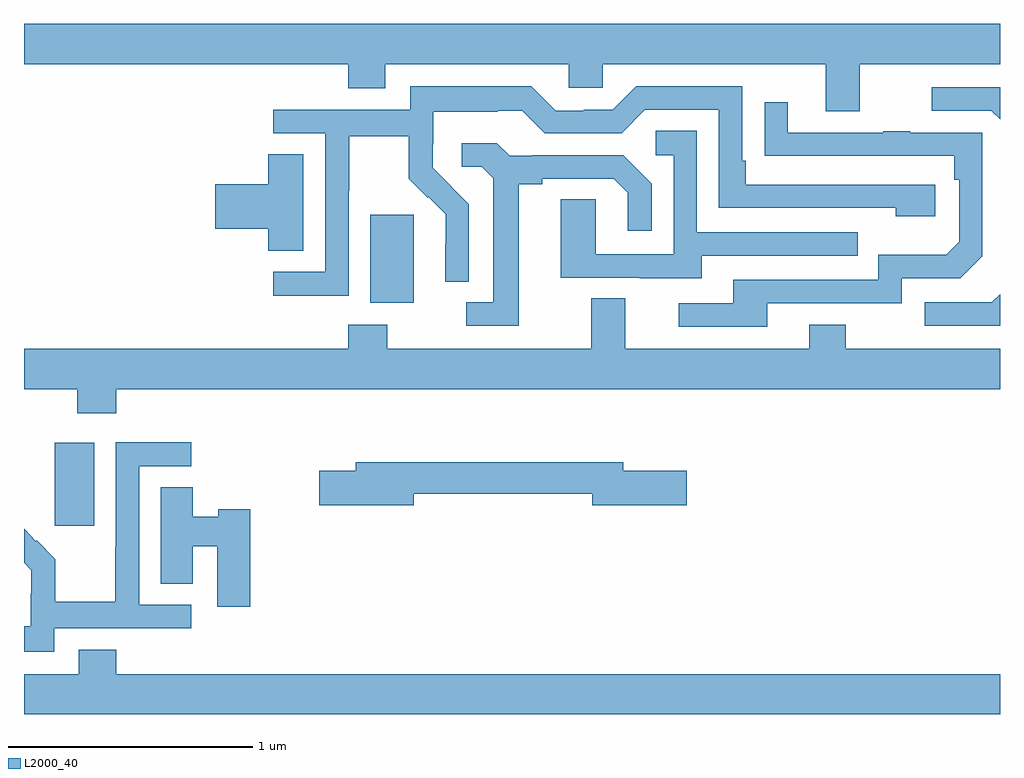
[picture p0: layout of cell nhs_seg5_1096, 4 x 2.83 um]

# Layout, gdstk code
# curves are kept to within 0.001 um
import gdstk
lib = gdstk.Library(unit=1e-6, precision=1e-09)
def R(c, l, rs):  # rectangles x0, y0, x1, y1
    for r in rs: c.add(gdstk.rectangle(r[:2], r[2:], *l))
def P(c, l, *ps):  # polygons
    for p in ps: c.add(gdstk.Polygon(p, *l))
L2000_40 = (2000, 40)

nhs_seg5_1096 = lib.new_cell('nhs_seg5_1096')
R(nhs_seg5_1096, L2000_40, [(179.126,848.208,179.287,848.548), (180.419,849.122,180.598,849.483)])
P(nhs_seg5_1096, L2000_40, [(182.425,850.1),(183,850.1),(183,850.264),(179,850.264),(179,850.1),(180.329,850.1),(180.329,850.001),(180.481,850.001),(180.481,850.1),(181.233,850.1),(181.233,850.002),(181.371,850.002),(181.371,850.1),(182.285,850.1),(182.285,849.906),(182.425,849.906)],
  [(180.33,849.58),(180.333,849.58),(180.333,849.804),(180.577,849.804),(180.577,849.629),(180.654,849.552),(180.657,849.555),(180.728,849.485),(180.728,849.362),(180.726,849.362),(180.726,849.208),(180.822,849.208),(180.822,849.526),(180.676,849.674),(180.676,849.771),(180.678,849.771),(180.678,849.905),(180.941,849.905),(180.941,849.909),(181.041,849.909),(181.134,849.816),(181.449,849.816),(181.545,849.912),(181.848,849.912),(181.848,849.51),(182.573,849.51),(182.573,849.476),(182.734,849.476),(182.734,849.606),(181.957,849.606),(181.957,849.703),(181.944,849.703),(181.944,850.008),(181.509,850.008),(181.413,849.912),(181.295,849.912),(181.295,849.909),(181.179,849.909),(181.079,850.009),(180.582,850.009),(180.582,849.912),(180.021,849.912),(180.021,849.816),(180.234,849.816),(180.234,849.249),(180.021,849.249),(180.021,849.151),(180.33,849.151)],
  [(183,850.005),(182.721,850.005),(182.721,849.909),(182.964,849.909),(183,849.873)],
  [(182.047,849.12),(182.598,849.12),(182.598,849.222),(182.838,849.222),(182.928,849.312),(182.928,849.819),(182.633,849.819),(182.633,849.824),(182.521,849.824),(182.521,849.819),(182.131,849.819),(182.131,849.943),(182.035,849.943),(182.035,849.724),(182.812,849.723),(182.812,849.626),(182.832,849.626),(182.832,849.372),(182.779,849.319),(182.502,849.319),(182.502,849.216),(181.907,849.216),(181.907,849.12),(181.683,849.12),(181.683,849.024),(182.047,849.024)],
  [(181.777,849.315),(182.417,849.315),(182.417,849.411),(181.758,849.411),(181.758,849.827),(181.59,849.827),(181.59,849.726),(181.662,849.726),(181.662,849.321),(181.344,849.321),(181.344,849.545),(181.199,849.545),(181.199,849.225),(181.523,849.225),(181.523,849.221),(181.777,849.221)],
  [(181.027,849.608),(181.123,849.608),(181.123,849.63),(181.418,849.63),(181.475,849.573),(181.475,849.417),(181.572,849.417),(181.572,849.61),(181.456,849.726),(181.084,849.726),(181.084,849.723),(180.99,849.723),(180.938,849.775),(180.795,849.775),(180.795,849.678),(180.876,849.678),(180.923,849.631),(180.923,849.123),(180.813,849.123),(180.813,849.027),(181.027,849.027)],
  [(180.145,849.731),(180.002,849.731),(180.002,849.608),(179.784,849.608),(179.784,849.425),(180.002,849.425),(180.002,849.334),(180.145,849.334)],
  [(183,849.156),(182.967,849.123),(182.691,849.123),(182.691,849.027),(183,849.027)],
  [(179.378,848.768),(183,848.768),(183,848.932),(182.367,848.932),(182.367,849.031),(182.219,849.031),(182.219,848.932),(181.465,848.932),(181.465,849.14),(181.325,849.14),(181.325,848.932),(180.489,848.932),(180.489,849.031),(180.329,849.031),(180.329,848.932),(179,848.932),(179,848.768),(179.218,848.768),(179.218,848.669),(179.378,848.669)],
  [(179.124,847.788),(179.686,847.788),(179.686,847.884),(179.472,847.884),(179.472,848.451),(179.686,848.451),(179.686,848.55),(179.376,848.55),(179.376,848.12),(179.374,848.12),(179.374,847.897),(179.129,847.897),(179.129,848.071),(179.052,848.148),(179.049,848.145),(179,848.195),(179,848.056),(179.03,848.026),(179.03,847.929),(179.028,847.929),(179.028,847.795),(179,847.795),(179,847.691),(179.124,847.691)],
  [(180.598,848.338),(181.328,848.338),(181.328,848.291),(181.717,848.291),(181.717,848.433),(181.456,848.433),(181.456,848.467),(180.359,848.467),(180.359,848.433),(180.21,848.433),(180.21,848.291),(180.598,848.291)],
  [(179.927,848.276),(179.796,848.276),(179.796,848.245),(179.692,848.245),(179.692,848.366),(179.561,848.366),(179.561,847.969),(179.692,847.969),(179.692,848.123),(179.792,848.123),(179.792,847.875),(179.927,847.875)],
  [(183,847.6),(179.378,847.6),(179.378,847.699),(179.225,847.699),(179.225,847.6),(179,847.6),(179,847.436),(183,847.436)])

lib.write_gds('nhs_seg5_1096.gds')
